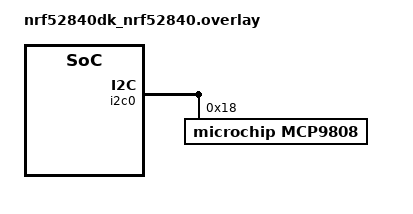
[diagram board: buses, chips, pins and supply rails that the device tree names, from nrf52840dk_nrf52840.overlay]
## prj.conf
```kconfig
CONFIG_GPIO=y
CONFIG_I2C=y
CONFIG_SENSOR=y
CONFIG_MCP9808=y
CONFIG_CBPRINTF_FP_SUPPORT=y
```

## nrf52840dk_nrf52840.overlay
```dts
// To get started, press Ctrl+Space (or Option+Esc) to bring up the completion menu and view the available nodes.

// You can also use the buttons in the sidebar to perform actions on nodes.
// Actions currently available include:

// * Enabling / disabling the node
// * Adding the bus to a bus
// * Removing the node
// * Connecting ADC channels

// For more help, browse the DeviceTree documentation at https://docs.zephyrproject.org/latest/guides/dts/index.html
// You can also visit the nRF DeviceTree extension documentation at https://nrfconnect.github.io/vscode-nrf-connect/devicetree/nrfdevicetree.html

&i2c0 {
    mcp9808@18{
        compatible = "microchip,mcp9808";
        reg = <0x18>;
    };
};
```

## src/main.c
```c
#include <zephyr/kernel.h>
#include <zephyr/sys/printk.h>
#include <zephyr/drivers/sensor.h>
#define SLEEP_TIME_MS 1000
const struct device *mcp9808_dev = DEVICE_DT_GET_ANY(microchip_mcp9808);
static struct sensor_value temp;
int main(void)
{
    if (!device_is_ready(mcp9808_dev))
    {

        printk("mcp9808_dev not ready\n");
        return 1;
    }
    int err;
    while (true)
    {
        do
        {
            err = sensor_sample_fetch(mcp9808_dev);
            if (err < 0)
            {
                printk("MCP9808 write failed: %d\n", err);
                break;
            }
            err = sensor_channel_get(mcp9808_dev, SENSOR_CHAN_AMBIENT_TEMP, &temp);
            if (err < 0)
            {
                printk("MCP9808 read failed: %d\n", err);
                break;
            }
            printk("MCP9808: %.2f Cel\n", sensor_value_to_double(&temp));
        } while (false);
        k_msleep(SLEEP_TIME_MS);
    }
}
```
